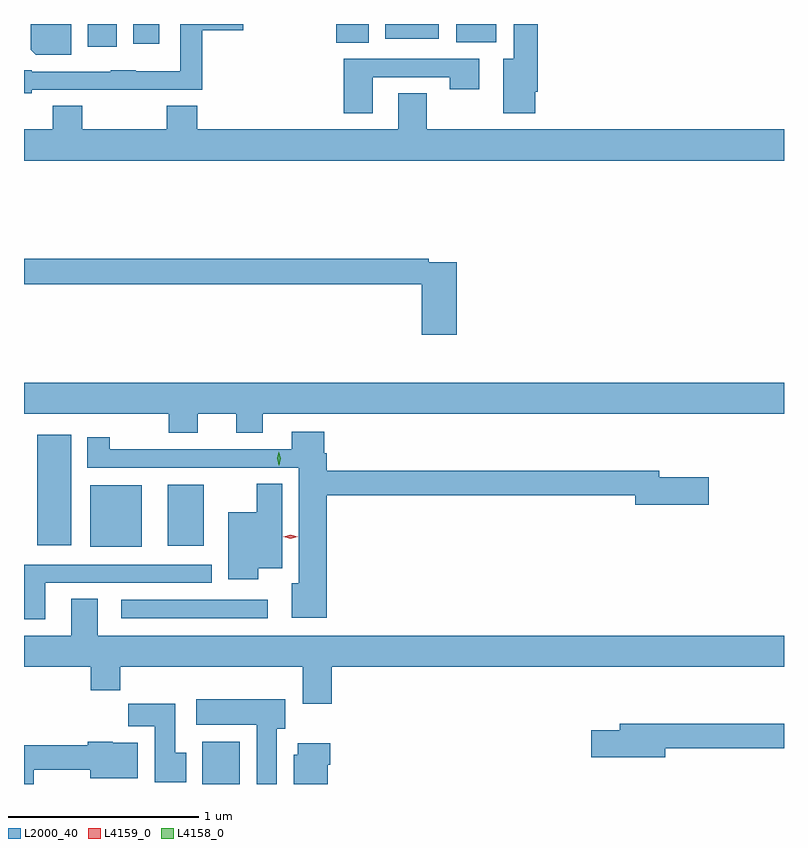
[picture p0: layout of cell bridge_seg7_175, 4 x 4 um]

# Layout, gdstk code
import gdstk
lib = gdstk.Library(unit=1e-6, precision=1e-09)
def R(c, l, rs):  # rectangles x0, y0, x1, y1
    for r in rs: c.add(gdstk.rectangle(r[:2], r[2:], *l))
def P(c, l, *ps):  # polygons
    for p in ps: c.add(gdstk.Polygon(p, *l))
L2000_40 = (2000, 40)
L4158_0 = (4158, 0)
L4159_0 = (4159, 0)

bridge_seg7_175 = lib.new_cell('bridge_seg7_175')
R(bridge_seg7_175, L2000_40, [(397.721,1039.959,397.918,1040.182), (397.293,1040.832,398.065,1040.928), (397.13,1041.209,397.402,1041.532), (397.538,1041.212,397.729,1041.535), (396.851,1041.215,397.03,1041.796), (397.118,1043.838,397.27,1043.959), (397.358,1043.856,397.495,1043.959), (398.426,1043.86,398.596,1043.959), (399.056,1043.864,399.268,1043.959), (398.684,1043.882,398.965,1043.959)])
P(bridge_seg7_175, L2000_40, [(397.03,1043.959),(396.818,1043.959),(396.818,1043.824),(396.844,1043.798),(397.03,1043.798)],
  [(399.472,1043.602),(399.485,1043.602),(399.485,1043.959),(399.359,1043.959),(399.359,1043.776),(399.305,1043.776),(399.305,1043.49),(399.472,1043.49)],
  [(396.822,1043.613),(397.239,1043.613),(397.239,1043.612),(397.471,1043.612),(397.471,1043.613),(397.721,1043.613),(397.721,1043.927),(397.936,1043.927),(397.936,1043.959),(397.605,1043.959),(397.605,1043.71),(397.371,1043.71),(397.371,1043.716),(397.239,1043.716),(397.239,1043.709),(396.822,1043.709),(396.822,1043.716),(396.782,1043.716),(396.782,1043.594),(396.822,1043.594)],
  [(398.617,1043.679),(399.022,1043.679),(399.022,1043.616),(399.178,1043.616),(399.178,1043.775),(398.465,1043.775),(398.465,1043.49),(398.617,1043.49)],
  [(400.782,1043.404),(398.901,1043.404),(398.901,1043.594),(398.753,1043.594),(398.753,1043.404),(397.694,1043.404),(397.694,1043.528),(397.534,1043.528),(397.534,1043.404),(397.089,1043.404),(397.089,1043.528),(396.934,1043.528),(396.934,1043.404),(396.782,1043.404),(396.782,1043.24),(400.782,1043.24)],
  [(399.059,1042.704),(398.912,1042.704),(398.912,1042.724),(396.782,1042.724),(396.782,1042.588),(398.876,1042.588),(398.876,1042.323),(399.059,1042.323)],
  [(397.696,1041.908),(397.898,1041.908),(397.898,1041.809),(398.038,1041.809),(398.038,1041.908),(400.782,1041.908),(400.782,1042.072),(396.782,1042.072),(396.782,1041.908),(397.544,1041.908),(397.544,1041.809),(397.696,1041.809)],
  [(398.375,1041.478),(399.998,1041.478),(399.998,1041.43),(400.387,1041.43),(400.387,1041.573),(400.126,1041.573),(400.126,1041.607),(398.375,1041.607),(398.375,1041.701),(398.362,1041.701),(398.362,1041.814),(398.192,1041.814),(398.192,1041.72),(397.46,1041.72),(397.46,1041.722),(397.233,1041.722),(397.233,1041.784),(397.115,1041.784),(397.115,1041.624),(398.228,1041.624),(398.228,1041.016),(398.192,1041.016),(398.192,1040.834),(398.375,1040.834)],
  [(398.014,1041.095),(398.14,1041.095),(398.14,1041.539),(398.006,1041.539),(398.006,1041.388),(397.856,1041.388),(397.856,1041.036),(398.014,1041.036)],
  [(396.895,1041.018),(397.771,1041.018),(397.771,1041.114),(396.782,1041.114),(396.782,1040.826),(396.895,1040.826)],
  [(398.402,1040.576),(400.782,1040.576),(400.782,1040.74),(397.171,1040.74),(397.171,1040.933),(397.031,1040.933),(397.031,1040.74),(396.782,1040.74),(396.782,1040.576),(397.133,1040.576),(397.133,1040.452),(397.289,1040.452),(397.289,1040.576),(398.249,1040.576),(398.249,1040.382),(398.402,1040.382)],
  [(398.113,1040.25),(398.158,1040.25),(398.158,1040.404),(397.689,1040.404),(397.689,1040.27),(398.006,1040.27),(398.006,1039.959),(398.113,1039.959)],
  [(397.636,1040.124),(397.579,1040.124),(397.579,1040.382),(397.33,1040.382),(397.33,1040.264),(397.469,1040.264),(397.469,1039.968),(397.636,1039.968)],
  [(400.156,1040.146),(400.782,1040.146),(400.782,1040.275),(399.917,1040.275),(399.917,1040.241),(399.768,1040.241),(399.768,1040.099),(400.156,1040.099)],
  [(396.834,1040.035),(397.13,1040.035),(397.13,1039.988),(397.381,1039.988),(397.381,1040.176),(397.248,1040.176),(397.248,1040.182),(397.118,1040.182),(397.118,1040.164),(396.782,1040.164),(396.782,1039.959),(396.834,1039.959)],
  [(398.38,1040.06),(398.393,1040.06),(398.393,1040.173),(398.222,1040.173),(398.222,1040.112),(398.201,1040.112),(398.201,1039.959),(398.38,1039.959)])
P(bridge_seg7_175, L4158_0, [(398.124,1041.637),(398.114,1041.673),(398.124,1041.709),(398.124,1041.709),(398.124,1041.709),(398.134,1041.673),(398.125,1041.637),(398.125,1041.637)])
P(bridge_seg7_175, L4159_0, [(398.185,1041.251),(398.146,1041.261),(398.146,1041.261),(398.146,1041.261),(398.185,1041.271),(398.224,1041.261),(398.224,1041.261),(398.224,1041.261)])

lib.write_gds('bridge_seg7_175.gds')
